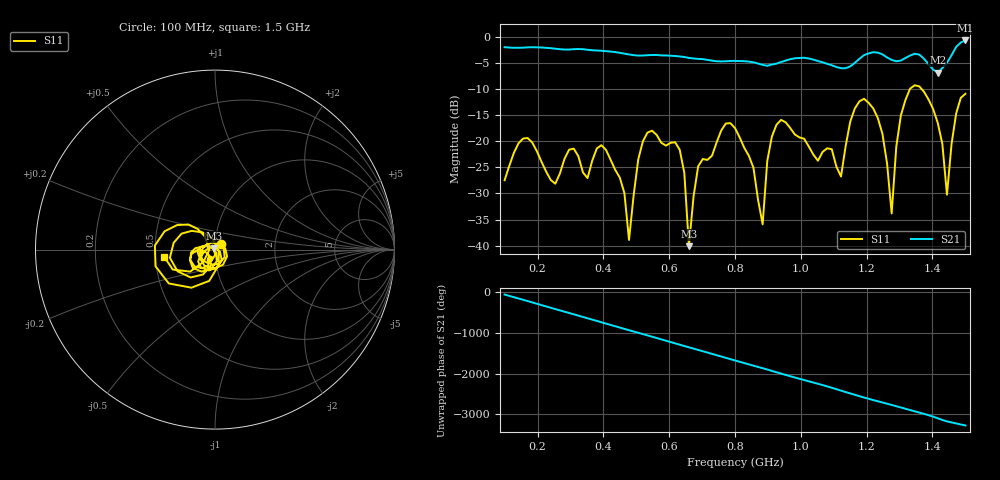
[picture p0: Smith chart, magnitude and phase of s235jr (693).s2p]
! NanoVNA-App
! Date: 2025-09-25 15:09:34
! Start: 100MHz Stop: 1,5GHz Points: 101
! S-Parameter data: F S11 S21 S12 S22
# Hz S RI R 50
!  Frequency  S11_Real  S11_Imag  S21_Real  S21_Imag  S12_Real  S12_Imag  S22_Real  S22_Imag
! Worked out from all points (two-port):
!   101 points, 100 MHz to 1.5 GHz, reference 50 ohm
!   highest |S21| = -0.68 dB at 1.5 GHz (marker M1); lowest = -6.8 dB at 1.416 GHz (marker M2)
!   |S21| within 3 dB of the highest: start of sweep to 620.6 MHz; 1.188 GHz to 1.256 GHz (67.46 MHz wide, 5.52 % of centre) (the widest 2 of 4)
!   lowest |S11| = -40.1 dB at 660 MHz (marker M3), VSWR 1.02, Z = 49.3 + j0.639 ohm
!   |S11| at or under -10 dB: start of sweep to 1.331 GHz; 1.367 GHz to end of sweep
!   S12 and S22 are empty: the file has one direction only
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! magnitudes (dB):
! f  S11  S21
! 100 MHz  -27.5  -2.0
! 170 MHz  -19.4  -2.0
! 338 MHz  -26.0  -2.4
! 408 MHz  -21.7  -2.7
! 478 MHz  -38.9  -3.4
! 520 MHz  -20.0  -3.6
! 576 MHz  -20.3  -3.5
! 632 MHz  -21.6  -3.7
! 660 MHz  -40.1  -4.0
! 688 MHz  -24.8  -4.2
! 800 MHz  -17.5  -4.6
! 884 MHz  -35.9  -5.4
! 926 MHz  -16.8  -5.1
! 1.038 GHz  -22.6  -4.3
! 1.122 GHz  -26.8  -6.0
! 1.192 GHz  -11.9  -3.5
! 1.248 GHz  -18.6  -3.3
! 1.276 GHz  -33.8  -4.4
! 1.332 GHz  -9.9  -3.6
! 1.416 GHz  -16.5  -6.8
! 1.444 GHz  -30.2  -5.0
! 1.5 GHz  -10.9  -0.7
